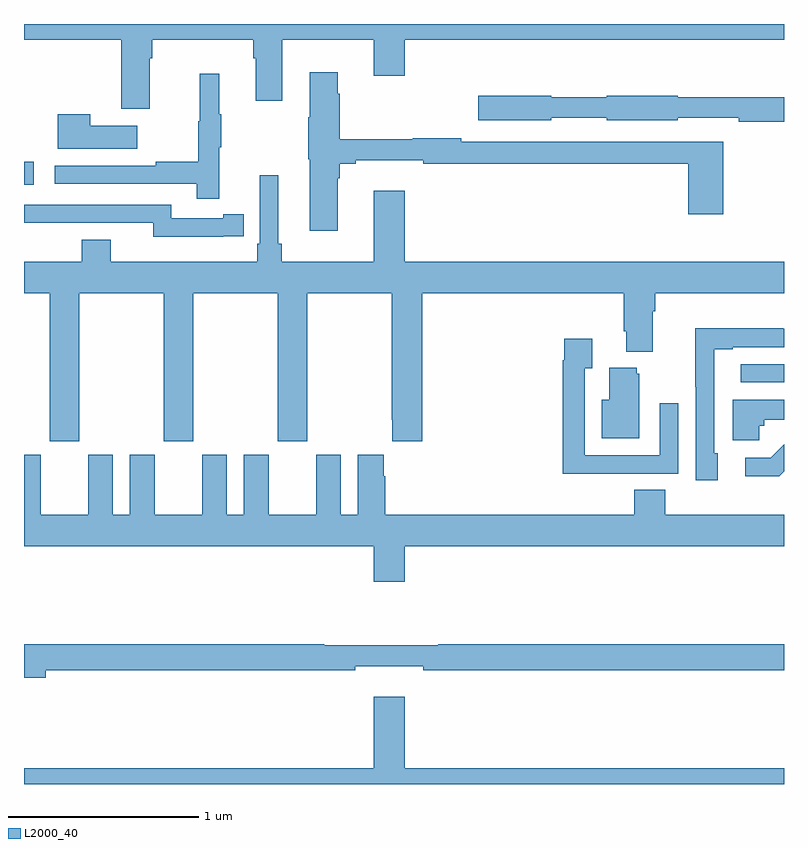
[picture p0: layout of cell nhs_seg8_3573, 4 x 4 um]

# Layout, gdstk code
import gdstk
lib = gdstk.Library(unit=1e-6, precision=1e-09)
def R(c, l, rs):  # rectangles x0, y0, x1, y1
    for r in rs: c.add(gdstk.rectangle(r[:2], r[2:], *l))
def P(c, l, *ps):  # polygons
    for p in ps: c.add(gdstk.Polygon(p, *l))
L2000_40 = (2000, 40)

nhs_seg8_3573 = lib.new_cell('nhs_seg8_3573')
R(nhs_seg8_3573, L2000_40, [(334.773,1132.014,335,1132.11), (331,1133.055,331.051,1133.175)])
P(nhs_seg8_3573, L2000_40, [(331.663,1133.72),(331.676,1133.72),(331.676,1133.816),(332.207,1133.816),(332.207,1133.72),(332.219,1133.72),(332.219,1133.496),(332.359,1133.496),(332.359,1133.816),(332.84,1133.816),(332.84,1133.628),(333.004,1133.628),(333.004,1133.816),(335,1133.816),(335,1133.9),(331,1133.9),(331,1133.816),(331.511,1133.816),(331.511,1133.454),(331.663,1133.454)],
  [(332.65,1133.087),(332.663,1133.087),(332.663,1133.164),(332.746,1133.164),(332.746,1133.183),(333.1,1133.183),(333.1,1133.164),(334.496,1133.164),(334.496,1132.899),(334.679,1132.899),(334.679,1133.28),(333.302,1133.28),(333.302,1133.3),(333.046,1133.3),(333.046,1133.293),(332.663,1133.293),(332.663,1133.534),(332.65,1133.534),(332.65,1133.647),(332.504,1133.647),(332.504,1133.408),(332.497,1133.408),(332.497,1133.187),(332.504,1133.187),(332.504,1132.812),(332.65,1132.812)],
  [(332.027,1133.251),(332.038,1133.251),(332.038,1133.425),(332.027,1133.425),(332.027,1133.638),(331.924,1133.638),(331.924,1133.388),(331.917,1133.388),(331.917,1133.174),(331.693,1133.174),(331.693,1133.154),(331.161,1133.154),(331.161,1133.058),(331.909,1133.058),(331.909,1132.98),(332.027,1132.98)],
  [(335,1133.515),(334.44,1133.515),(334.44,1133.523),(334.068,1133.523),(334.068,1133.515),(333.774,1133.515),(333.774,1133.523),(333.39,1133.523),(333.39,1133.393),(333.774,1133.393),(333.774,1133.406),(334.068,1133.406),(334.068,1133.393),(334.44,1133.393),(334.44,1133.406),(334.762,1133.406),(334.762,1133.386),(335,1133.386)],
  [(331.597,1133.365),(331.349,1133.365),(331.349,1133.425),(331.178,1133.425),(331.178,1133.243),(331.597,1133.243)],
  [(331.29,1132.484),(331.735,1132.484),(331.735,1131.705),(331.89,1131.705),(331.89,1132.484),(332.335,1132.484),(332.335,1131.705),(332.49,1131.705),(332.49,1132.484),(332.935,1132.484),(332.935,1131.817),(332.939,1131.817),(332.939,1131.705),(333.095,1131.705),(333.095,1132.484),(334.157,1132.484),(334.157,1132.282),(334.169,1132.282),(334.169,1132.175),(334.309,1132.175),(334.309,1132.388),(334.322,1132.388),(334.322,1132.484),(335,1132.484),(335,1132.648),(333.004,1132.648),(333.004,1133.023),(332.84,1133.023),(332.84,1132.648),(332.357,1132.648),(332.357,1132.744),(332.338,1132.744),(332.338,1133.104),(332.241,1133.104),(332.241,1132.744),(332.228,1132.744),(332.228,1132.648),(331.456,1132.648),(331.456,1132.765),(331.304,1132.765),(331.304,1132.648),(331,1132.648),(331,1132.484),(331.135,1132.484),(331.135,1131.705),(331.29,1131.705)],
  [(332.048,1132.782),(332.156,1132.782),(332.156,1132.898),(332.048,1132.898),(332.048,1132.878),(331.776,1132.878),(331.776,1132.95),(331,1132.95),(331,1132.853),(331.22,1132.853),(331.22,1132.854),(331.68,1132.854),(331.68,1132.781),(332.048,1132.781)],
  [(334.651,1131.642),(334.632,1131.642),(334.632,1132.188),(334.729,1132.188),(334.729,1132.2),(335,1132.2),(335,1132.296),(334.997,1132.296),(334.997,1132.298),(334.534,1132.298),(334.534,1131.991),(334.536,1131.991),(334.536,1131.498),(334.651,1131.498)],
  [(334.127,1131.534),(334.443,1131.534),(334.443,1131.904),(334.347,1131.904),(334.347,1131.63),(333.951,1131.63),(333.951,1132.087),(333.991,1132.087),(333.991,1132.243),(333.843,1132.243),(333.843,1132.13),(333.835,1132.13),(333.835,1131.533),(334.127,1131.533)],
  [(334.237,1132.059),(334.226,1132.059),(334.226,1132.09),(334.079,1132.09),(334.079,1131.922),(334.04,1131.922),(334.04,1131.719),(334.237,1131.719)],
  [(334.869,1131.786),(334.896,1131.786),(334.896,1131.818),(335,1131.818),(335,1131.922),(334.73,1131.922),(334.73,1131.71),(334.869,1131.71)],
  [(335,1131.546),(335,1131.687),(334.931,1131.618),(334.797,1131.618),(334.797,1131.521),(334.975,1131.521)],
  [(331,1131.634),(331,1131.152),(332.84,1131.152),(332.84,1130.964),(333.004,1130.964),(333.004,1131.152),(335,1131.152),(335,1131.316),(334.376,1131.316),(334.376,1131.449),(334.211,1131.449),(334.211,1131.316),(332.9,1131.316),(332.9,1131.521),(332.893,1131.521),(332.893,1131.634),(332.756,1131.634),(332.756,1131.316),(332.668,1131.316),(332.668,1131.634),(332.537,1131.634),(332.537,1131.316),(332.287,1131.316),(332.287,1131.634),(332.156,1131.634),(332.156,1131.316),(332.068,1131.316),(332.068,1131.634),(331.937,1131.634),(331.937,1131.316),(331.687,1131.316),(331.687,1131.634),(331.556,1131.634),(331.556,1131.316),(331.468,1131.316),(331.468,1131.634),(331.337,1131.634),(331.337,1131.316),(331.087,1131.316),(331.087,1131.634)],
  [(331.114,1130.5),(332.744,1130.5),(332.744,1130.519),(333.1,1130.519),(333.1,1130.5),(335,1130.5),(335,1130.636),(333.179,1130.636),(333.179,1130.629),(332.579,1130.629),(332.579,1130.636),(331,1130.636),(331,1130.458),(331.114,1130.458)],
  [(335,1129.984),(333.004,1129.984),(333.004,1130.359),(332.84,1130.359),(332.84,1129.984),(331,1129.984),(331,1129.9),(335,1129.9)])

lib.write_gds('nhs_seg8_3573.gds')
